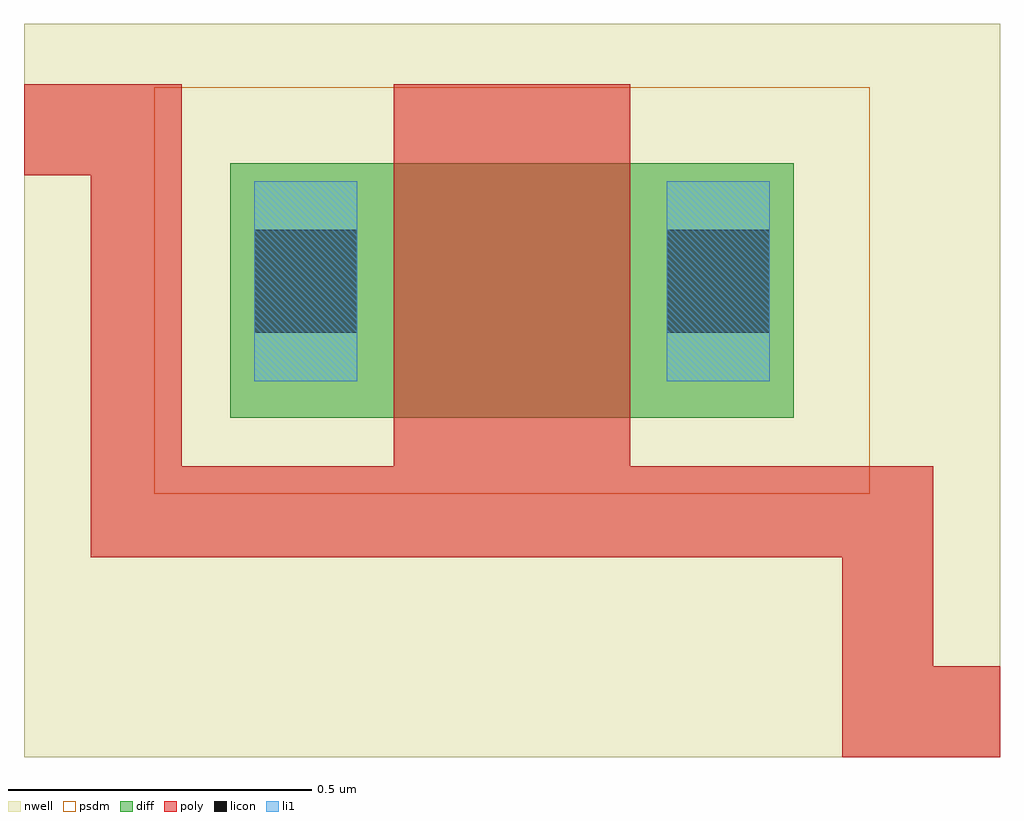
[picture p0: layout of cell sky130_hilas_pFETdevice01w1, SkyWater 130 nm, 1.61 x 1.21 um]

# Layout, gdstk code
import gdstk
lib = gdstk.Library(unit=1e-6, precision=1e-09)
def R(c, l, rs):  # rectangles x0, y0, x1, y1
    for r in rs: c.add(gdstk.rectangle(r[:2], r[2:], *l))
nwell = (64, 20)
diff = (65, 20)
poly = (66, 20)
licon = (66, 44)
li1 = (67, 20)
psdm = (94, 20)

sky130_hilas_pfetdevice0 = lib.new_cell('sky130_hilas_pFETdevice01w1')
R(sky130_hilas_pfetdevice0, nwell, [(-0.79,-0.78,0.82,0.43)])
R(sky130_hilas_pfetdevice0, diff, [(-0.45,-0.22,0.48,0.2)])
R(sky130_hilas_pfetdevice0, poly, [(0.56,-0.78,0.82,-0.63), (0.56,-0.63,0.71,-0.45), (-0.68,-0.45,0.71,-0.3), (-0.68,-0.3,-0.53,0.18), (-0.18,-0.3,0.21,0.33), (-0.79,0.18,-0.53,0.33)])
R(sky130_hilas_pfetdevice0, licon, [(-0.41,-0.08,-0.24,0.09), (0.27,-0.08,0.44,0.09)])
R(sky130_hilas_pfetdevice0, li1, [(-0.41,-0.16,-0.24,0.17), (0.27,-0.16,0.44,0.17)])
R(sky130_hilas_pfetdevice0, psdm, [(-0.575,-0.345,0.605,0.325)])

lib.write_gds('sky130_hilas_pFETdevice01w1.gds')
